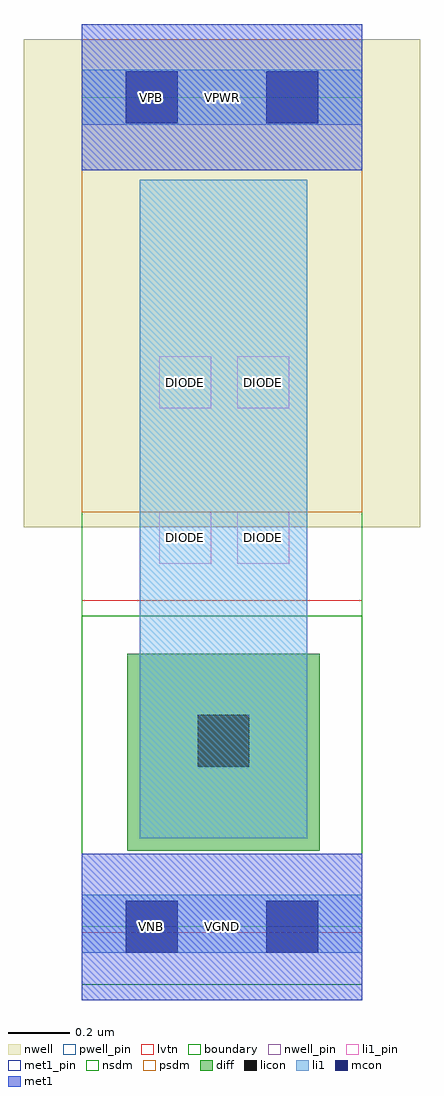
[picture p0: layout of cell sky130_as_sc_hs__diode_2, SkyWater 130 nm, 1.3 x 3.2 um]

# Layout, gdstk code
import gdstk
lib = gdstk.Library(unit=1e-6, precision=1e-09)
def R(c, l, rs):  # rectangles x0, y0, x1, y1
    for r in rs: c.add(gdstk.rectangle(r[:2], r[2:], *l))
nwell_pin = (64, 16)
nwell = (64, 20)
diff = (65, 20)
licon = (66, 44)
li1_pin = (67, 16)
li1 = (67, 20)
mcon = (67, 44)
met1_pin = (68, 16)
met1 = (68, 20)
nsdm = (93, 44)
psdm = (94, 20)
pwell_pin = (122, 16)
lvtn = (125, 44)
boundary = (235, 4)

sky130_as_sc_hs__diode_2 = lib.new_cell('sky130_as_sc_hs__diode_2')
R(sky130_as_sc_hs__diode_2, nwell_pin, [(0.145,2.635,0.315,2.805)])
R(sky130_as_sc_hs__diode_2, nwell, [(-0.19,1.31,1.11,2.91)])
R(sky130_as_sc_hs__diode_2, diff, [(0.15,0.25,0.78,0.895)])
R(sky130_as_sc_hs__diode_2, licon, [(0.38,0.525,0.55,0.695)])
R(sky130_as_sc_hs__diode_2, li1_pin, [(0.255,1.19,0.425,1.36), (0.51,1.19,0.68,1.36), (0.255,1.7,0.425,1.87), (0.51,1.7,0.68,1.87)])
R(sky130_as_sc_hs__diode_2, li1, [(0,-0.085,0.92,0.105), (0.19,0.29,0.74,2.45), (0,2.63,0.92,2.81)])
R(sky130_as_sc_hs__diode_2, mcon, [(0.145,-0.085,0.315,0.085), (0.605,-0.085,0.775,0.085), (0.145,2.635,0.315,2.805), (0.605,2.635,0.775,2.805)])
R(sky130_as_sc_hs__diode_2, met1_pin, [(0,-0.24,0.92,0.24), (0.145,-0.085,0.315,0.085), (0,2.48,0.92,2.96), (0.145,2.635,0.315,2.805)])
R(sky130_as_sc_hs__diode_2, met1, [(0,-0.24,0.92,0.24), (0,2.48,0.92,2.96)])
R(sky130_as_sc_hs__diode_2, nsdm, [(0,-0.19,0.92,1.02)])
R(sky130_as_sc_hs__diode_2, psdm, [(0,1.36,0.92,2.91)])
R(sky130_as_sc_hs__diode_2, pwell_pin, [(0.145,-0.085,0.315,0.085)])
R(sky130_as_sc_hs__diode_2, lvtn, [(0,-0.02,0.92,1.07)])
R(sky130_as_sc_hs__diode_2, boundary, [(0,0,0.92,2.72)])
sky130_as_sc_hs__diode_2.add(gdstk.Label('VPB', (0.23,2.72), layer=64, texttype=5))
sky130_as_sc_hs__diode_2.add(gdstk.Label('VNB', (0.23,0), layer=64, texttype=59))
sky130_as_sc_hs__diode_2.add(gdstk.Label('DIODE', (0.595,1.275), layer=67, texttype=5))
sky130_as_sc_hs__diode_2.add(gdstk.Label('DIODE', (0.34,1.275), layer=67, texttype=5))
sky130_as_sc_hs__diode_2.add(gdstk.Label('DIODE', (0.595,1.785), layer=67, texttype=5))
sky130_as_sc_hs__diode_2.add(gdstk.Label('DIODE', (0.34,1.785), layer=67, texttype=5))
sky130_as_sc_hs__diode_2.add(gdstk.Label('VPB', (0.23,2.72), layer=64, texttype=5))
sky130_as_sc_hs__diode_2.add(gdstk.Label('VPWR', (0.46,2.72), layer=68, texttype=5))
sky130_as_sc_hs__diode_2.add(gdstk.Label('VPWR', (0.23,2.72), layer=68, texttype=5))
sky130_as_sc_hs__diode_2.add(gdstk.Label('VGND', (0.46,0), layer=68, texttype=5))
sky130_as_sc_hs__diode_2.add(gdstk.Label('VGND', (0.23,0), layer=68, texttype=5))
sky130_as_sc_hs__diode_2.add(gdstk.Label('VNB', (0.23,0), layer=64, texttype=59))
sky130_as_sc_hs__diode_2.add(gdstk.Label('DIODE', (0.34,1.785), layer=67, texttype=5))
sky130_as_sc_hs__diode_2.add(gdstk.Label('DIODE', (0.595,1.785), layer=67, texttype=5))
sky130_as_sc_hs__diode_2.add(gdstk.Label('DIODE', (0.34,1.275), layer=67, texttype=5))
sky130_as_sc_hs__diode_2.add(gdstk.Label('DIODE', (0.595,1.275), layer=67, texttype=5))

lib.write_gds('sky130_as_sc_hs__diode_2.gds')
